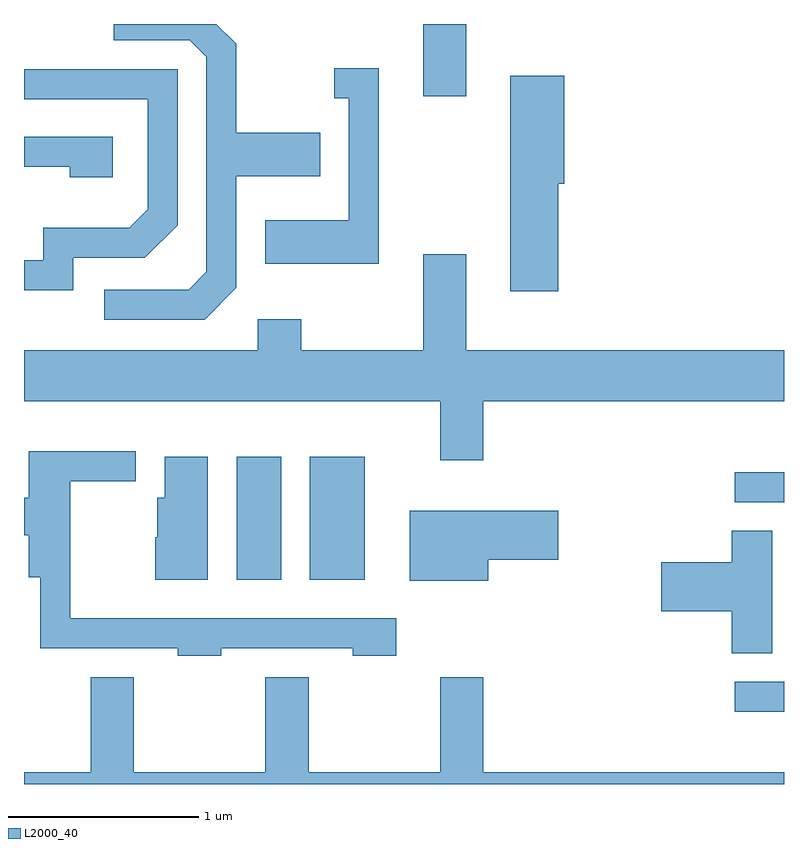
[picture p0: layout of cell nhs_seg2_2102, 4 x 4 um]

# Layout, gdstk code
import gdstk
lib = gdstk.Library(unit=1e-6, precision=1e-09)
def R(c, l, rs):  # rectangles x0, y0, x1, y1
    for r in rs: c.add(gdstk.rectangle(r[:2], r[2:], *l))
def P(c, l, *ps):  # polygons
    for p in ps: c.add(gdstk.Polygon(p, *l))
L2000_40 = (2000, 40)

nhs_seg2_2102 = lib.new_cell('nhs_seg2_2102')
R(nhs_seg2_2102, L2000_40, [(249.353,1102.181,249.611,1102.339), (246.731,1102.876,246.964,1103.524), (247.116,1102.876,247.404,1103.524), (249.353,1103.286,249.611,1103.444), (247.711,1105.421,247.939,1105.802)])
P(nhs_seg2_2102, L2000_40, [(246.729,1104.414),(246.729,1105.001),(247.169,1105.001),(247.169,1105.229),(246.729,1105.229),(246.729,1105.697),(246.624,1105.802),(246.083,1105.802),(246.083,1105.716),(246.484,1105.716),(246.571,1105.629),(246.571,1104.497),(246.479,1104.404),(246.033,1104.404),(246.033,1104.246),(246.562,1104.246)],
  [(247.479,1105.569),(247.243,1105.569),(247.243,1105.411),(247.321,1105.411),(247.321,1104.769),(246.881,1104.769),(246.881,1104.541),(247.479,1104.541)],
  [(245.869,1104.571),(246.247,1104.571),(246.419,1104.744),(246.419,1105.564),(245.611,1105.564),(245.611,1105.406),(246.261,1105.406),(246.261,1104.827),(246.164,1104.729),(245.711,1104.729),(245.711,1104.559),(245.611,1104.559),(245.611,1104.401),(245.869,1104.401)],
  [(248.424,1104.961),(248.454,1104.961),(248.454,1105.529),(248.171,1105.529),(248.171,1104.396),(248.424,1104.396)],
  [(246.079,1105.209),(245.611,1105.209),(245.611,1105.051),(245.851,1105.051),(245.851,1104.996),(246.079,1104.996)],
  [(248.029,1103.816),(249.611,1103.816),(249.611,1104.084),(247.939,1104.084),(247.939,1104.589),(247.711,1104.589),(247.711,1104.084),(247.069,1104.084),(247.069,1104.249),(246.841,1104.249),(246.841,1104.084),(245.611,1104.084),(245.611,1103.816),(247.801,1103.816),(247.801,1103.506),(248.029,1103.506)],
  [(246.649,1102.516),(247.341,1102.516),(247.341,1102.476),(247.569,1102.476),(247.569,1102.674),(245.854,1102.674),(245.854,1103.396),(246.198,1103.396),(246.198,1103.554),(245.636,1103.554),(245.636,1103.309),(245.611,1103.309),(245.611,1103.111),(245.636,1103.111),(245.636,1102.891),(245.696,1102.891),(245.696,1102.516),(246.421,1102.516),(246.421,1102.476),(246.649,1102.476)],
  [(246.579,1103.524),(246.351,1103.524),(246.351,1103.309),(246.311,1103.309),(246.311,1103.1),(246.301,1103.1),(246.301,1102.876),(246.579,1102.876)],
  [(248.054,1102.981),(248.424,1102.981),(248.424,1103.239),(247.641,1103.239),(247.641,1102.871),(248.054,1102.871)],
  [(249.549,1103.134),(249.336,1103.134),(249.336,1102.969),(248.966,1102.969),(248.966,1102.711),(249.336,1102.711),(249.336,1102.491),(249.549,1102.491)],
  [(249.611,1101.864),(248.029,1101.864),(248.029,1102.364),(247.801,1102.364),(247.801,1101.864),(247.109,1101.864),(247.109,1102.364),(246.881,1102.364),(246.881,1101.864),(246.189,1101.864),(246.189,1102.364),(245.961,1102.364),(245.961,1101.864),(245.611,1101.864),(245.611,1101.802),(249.611,1101.802)])

lib.write_gds('nhs_seg2_2102.gds')
